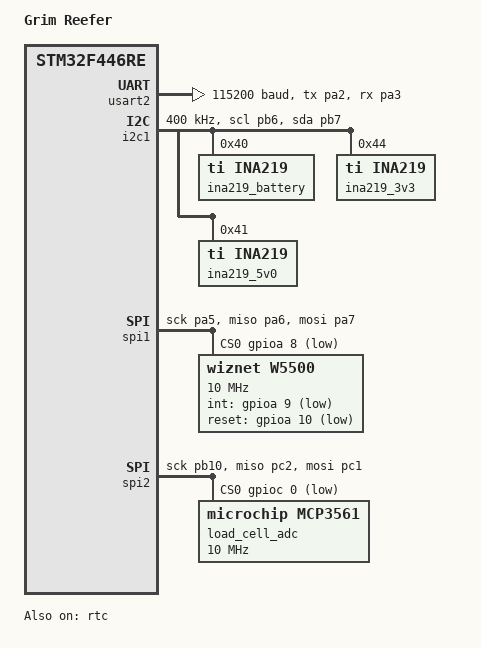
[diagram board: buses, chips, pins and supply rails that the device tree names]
/*
 * Copyright (c) 2023 Aaron Chan
 *
 * SPDX-License-Identifier: Apache-2.0
 */

/dts-v1/;
#include <st/f4/stm32f446Xe.dtsi>
#include <st/f4/stm32f446r(c-e)tx-pinctrl.dtsi>
#include <zephyr/dt-bindings/input/input-event-codes.h>

/ {
	model = "Grim Reefer";
	compatible = "st,stm32f446re-nucleo";

	chosen {
		zephyr,console = &usart2;
		zephyr,shell-uart = &usart2;
		zephyr,sram = &sram0;
		zephyr,flash = &flash0;
	};

	leds: leds {
		compatible = "gpio-leds";
	};

	aliases {
		my-adc = &load_cell_adc;
	};


};

&clk_lsi {
	status = "okay";
};

&clk_hsi {
	clock-frequency = <DT_FREQ_M(16)>;
	status = "okay";
};

&pll {
	div-m = <8>;
	mul-n = <90>;
	div-p = <2>;
	clocks = <&clk_hsi>;
	status = "okay";
};

&rcc {
	clocks = <&pll>;
	clock-frequency = <DT_FREQ_M(45)>;
	ahb-prescaler = <2>;
	apb1-prescaler = <2>;
	apb2-prescaler = <1>;
};

// Modify when we finally get UART on REV2
&usart2 {
	pinctrl-0 = <&usart2_tx_pa2 &usart2_rx_pa3>;
	pinctrl-names = "default";
	current-speed = <115200>;
	status = "okay";
};
/*
&adc1 {
	//    pinctrl-0 = <&adc1_in4_pa4>;
	pinctrl-names = "default";
	st,adc-clock-source = <SYNC>;
	st,adc-prescaler = <2>;
	status = "okay";
	address-cells = <1>;
	size_cells = <0>;

	channel@4 {
		reg = <4>;
		zephyr,gain = "ADC_GAIN_1";
		zephyr,reference = "ADC_REF_INTERNAL";
		zephyr,acquisition-time = <ADC_ACQ_TIME_DEFAULT>;
		zephyr,resolution = <12>;
	};
};
 */

&i2c1 {
	pinctrl-0 = <&i2c1_scl_pb6 &i2c1_sda_pb7>;
	pinctrl-names = "default";
	status = "okay";
	clock-frequency = <I2C_BITRATE_FAST>;

	ina219_battery@40 {
		status = "okay";
		compatible = "ti,ina219";
		reg = <0x40>;
		brng = <0>;
		pg = <0>;
		sadc = <13>;
		badc = <13>;
		shunt-milliohm = <100>;
		lsb-microamp = <10>;
	};

	ina219_3v3@44 {
		status = "okay";
		compatible = "ti,ina219";
		reg = <0x44>;
		brng = <0>;
		pg = <0>;
		sadc = <13>;
		badc = <13>;
		shunt-milliohm = <100>;
		lsb-microamp = <10>;
	};

	ina219_5v0@41 {
		status = "okay";
		compatible = "ti,ina219";
		reg = <0x41>;
		brng = <0>;
		pg = <0>;
		sadc = <13>;
		badc = <13>;
		shunt-milliohm = <100>;
		lsb-microamp = <10>;
	};
};

&spi1 {
	pinctrl-0 = <&spi1_sck_pa5 &spi1_miso_pa6 &spi1_mosi_pa7>;
	cs-gpios = <&gpioa 8 GPIO_ACTIVE_LOW>;
	pinctrl-names = "default";
	status = "okay";

	w5500: w5500@0 {
		compatible = "wiznet,w5500";
		reg = <0x0>;
		spi-max-frequency = <10000000>;
		int-gpios = <&gpioa 9 GPIO_ACTIVE_LOW>;
		reset-gpios = <&gpioa 10 GPIO_ACTIVE_LOW>;
	};
};

&spi2 {
	pinctrl-0 = <&spi2_sck_pb10 &spi2_miso_pc2 &spi2_mosi_pc1>;
	cs-gpios = <&gpioc 0 GPIO_ACTIVE_LOW>;
	pinctrl-names = "default";
	status = "okay";


	load_cell_adc: load_cell_adc@0 {
		compatible = "microchip,mcp3561";
		status = "okay";
		reg = <0x0>;
		osr = "OSR_32";
		prescale = "PRE_8";
		clock-selection = "CLK_INTERNAL";

		spi-max-frequency = <10000000>;
		#io-channel-cells = <1>;
		#address-cells = <1>;
		#size-cells = <0>;

		channel@0 {
			reg = <0>;
			zephyr,differential;
			zephyr,gain = "ADC_GAIN_1_6";
			zephyr,reference = "ADC_REF_VDD_1";
			zephyr,acquisition-time = <ADC_ACQ_TIME(ADC_ACQ_TIME_MICROSECONDS, 1)>;
		};
	};

};

&rtc {
	clocks = <&rcc STM32_CLOCK_BUS_APB1 0x10000000>,
	         <&rcc STM32_SRC_LSI RTC_SEL(2)>;
	status = "okay";
};

&backup_sram {
	status = "okay";
};

&flash0 {

	partitions {
		compatible = "fixed-partitions";
		#address-cells = <1>;
		#size-cells = <1>;

		boot_partition: partition@0 {
			label = "mcuboot";
			reg = <0x00000000 DT_SIZE_K(64)>;
			read-only;
		};

		/*
		 * The flash starting at 0x00010000 and ending at
		 * 0x0001ffff (sectors 16-31) is reserved for use
		 * by the application.
		 */
		storage_partition: partition@10000 {
			label = "storage";
			reg = <0x00010000 DT_SIZE_K(64)>;
		};

		slot0_partition: partition@20000 {
			label = "image-0";
			reg = <0x00020000 DT_SIZE_K(128)>;
		};
		slot1_partition: partition@40000 {
			label = "image-1";
			reg = <0x00040000 DT_SIZE_K(128)>;
		};
		scratch_partition: partition@60000 {
			label = "image-scratch";
			reg = <0x00060000 DT_SIZE_K(128)>;
		};
	};
};
